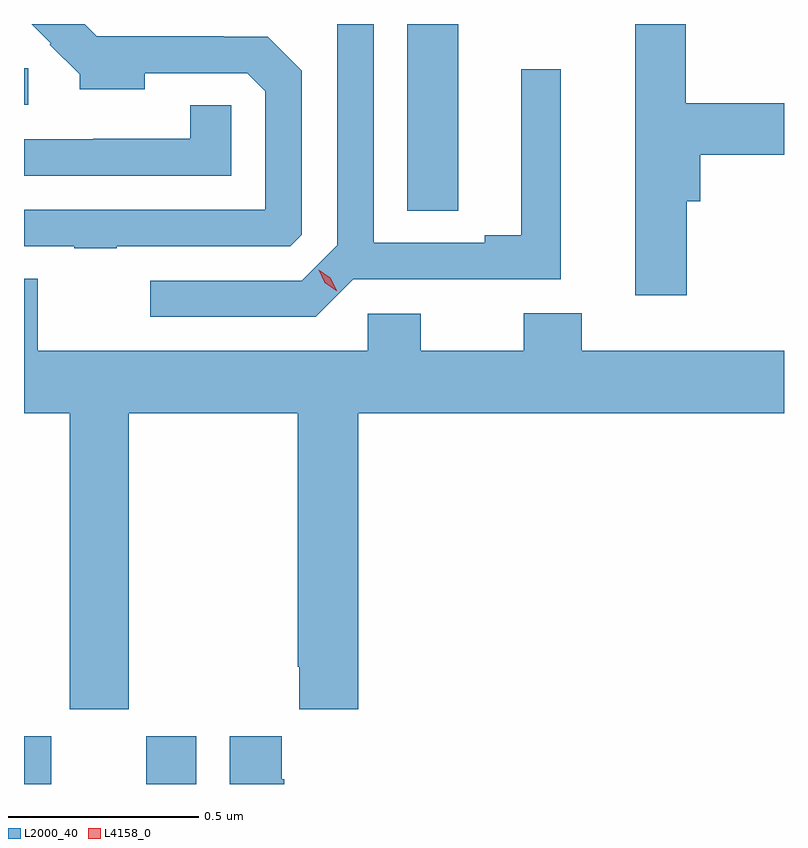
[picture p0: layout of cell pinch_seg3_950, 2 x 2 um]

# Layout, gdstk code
import gdstk
lib = gdstk.Library(unit=1e-6, precision=1e-09)
def R(c, l, rs):  # rectangles x0, y0, x1, y1
    for r in rs: c.add(gdstk.rectangle(r[:2], r[2:], *l))
def P(c, l, *ps):  # polygons
    for p in ps: c.add(gdstk.Polygon(p, *l))
L2000_40 = (2000, 40)
L4158_0 = (4158, 0)

pinch_seg3_950 = lib.new_cell('pinch_seg3_950')
R(pinch_seg3_950, L2000_40, [(841.039,699.94,841.111,700.066), (841.361,699.94,841.492,700.066), (842.048,701.449,842.182,701.94), (841.039,701.727,841.05,701.823)])
P(pinch_seg3_950, L2000_40, [(841.283,701.355),(841.74,701.355),(841.77,701.385),(841.77,701.817),(841.681,701.906),(841.565,701.906),(841.565,701.908),(841.231,701.908),(841.199,701.94),(841.06,701.94),(841.11,701.889),(841.107,701.886),(841.186,701.808),(841.186,701.768),(841.357,701.768),(841.357,701.811),(841.626,701.811),(841.674,701.763),(841.674,701.451),(841.039,701.451),(841.039,701.355),(841.171,701.355),(841.171,701.35),(841.283,701.35)],
  [(842.783,701.474),(842.819,701.474),(842.819,701.596),(843.039,701.596),(843.039,701.732),(842.78,701.732),(842.78,701.94),(842.648,701.94),(842.648,701.226),(842.783,701.226)],
  [(841.906,701.268),(842.452,701.268),(842.452,701.821),(842.348,701.821),(842.348,701.384),(842.252,701.384),(842.252,701.364),(841.959,701.364),(841.959,701.94),(841.863,701.94),(841.863,701.358),(841.77,701.265),(841.371,701.265),(841.371,701.169),(841.807,701.169)],
  [(841.584,701.726),(841.476,701.726),(841.476,701.638),(841.221,701.638),(841.221,701.637),(841.039,701.637),(841.039,701.541),(841.584,701.541)],
  [(841.314,700.916),(841.759,700.916),(841.759,700.249),(841.763,700.249),(841.763,700.137),(841.919,700.137),(841.919,700.916),(843.039,700.916),(843.039,701.08),(842.507,701.08),(842.507,701.179),(842.354,701.179),(842.354,701.08),(842.083,701.08),(842.083,701.178),(841.944,701.178),(841.944,701.08),(841.075,701.08),(841.075,701.27),(841.039,701.27),(841.039,700.916),(841.159,700.916),(841.159,700.137),(841.314,700.137)],
  [(841.724,699.953),(841.717,699.953),(841.717,700.066),(841.58,700.066),(841.58,699.94),(841.724,699.94)])
P(pinch_seg3_950, L4158_0, [(841.861,701.238),(841.83,701.259),(841.814,701.293),(841.814,701.293),(841.814,701.293),(841.845,701.272),(841.862,701.239),(841.862,701.238)])

lib.write_gds('pinch_seg3_950.gds')
